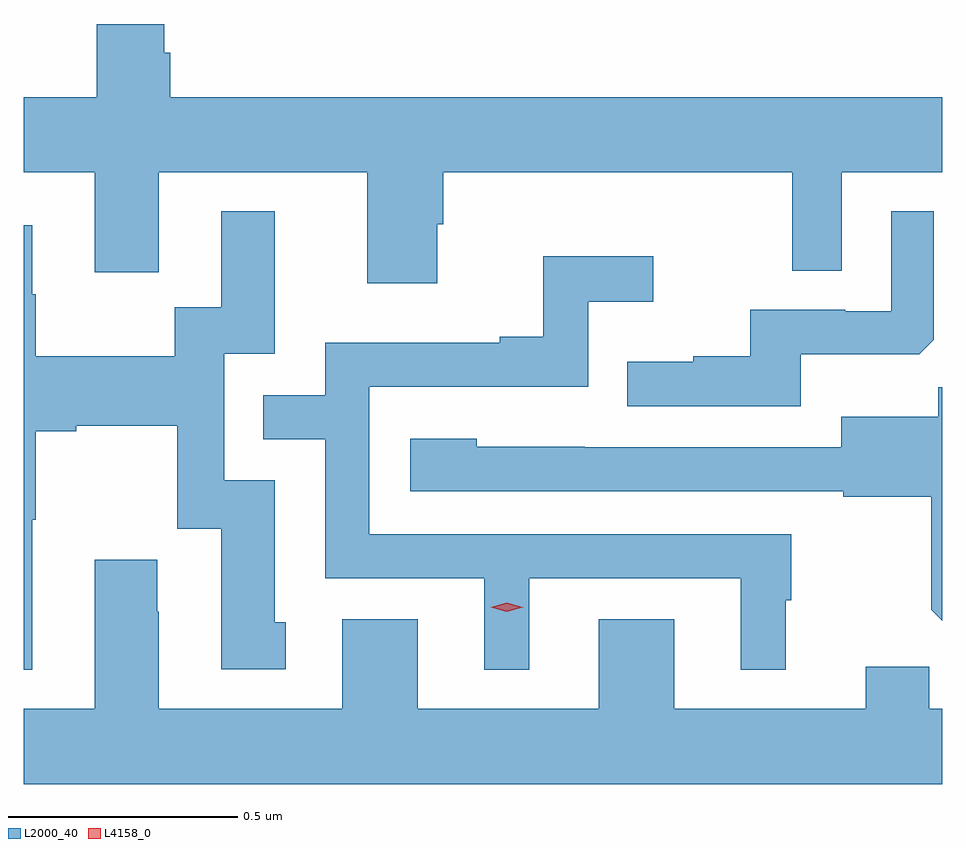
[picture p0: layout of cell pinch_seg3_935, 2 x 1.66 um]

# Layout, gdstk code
import gdstk
lib = gdstk.Library(unit=1e-6, precision=1e-09)
def P(c, l, *ps):  # polygons
    for p in ps: c.add(gdstk.Polygon(p, *l))
L2000_40 = (2000, 40)
L4158_0 = (4158, 0)

pinch_seg3_935 = lib.new_cell('pinch_seg3_935')
P(pinch_seg3_935, L2000_40, [(790.939,686.151),(790.952,686.151),(790.952,686.264),(791.712,686.264),(791.712,686.05),(791.82,686.05),(791.82,686.264),(792.039,686.264),(792.039,686.428),(790.358,686.428),(790.358,686.524),(790.345,686.524),(790.345,686.587),(790.198,686.587),(790.198,686.428),(790.039,686.428),(790.039,686.264),(790.193,686.264),(790.193,686.046),(790.333,686.046),(790.333,686.264),(790.787,686.264),(790.787,686.022),(790.939,686.022)],
  [(790.057,685.507),(790.065,685.507),(790.065,685.7),(790.153,685.7),(790.153,685.712),(790.373,685.712),(790.373,685.488),(790.469,685.488),(790.469,685.182),(790.609,685.182),(790.609,685.284),(790.585,685.284),(790.585,685.593),(790.476,685.593),(790.476,685.869),(790.585,685.869),(790.585,686.179),(790.469,686.179),(790.469,685.97),(790.368,685.97),(790.368,685.864),(790.065,685.864),(790.065,685.998),(790.057,685.998),(790.057,686.149),(790.039,686.149),(790.039,685.181),(790.057,685.181)],
  [(791.731,685.868),(791.989,685.868),(792.021,685.899),(792.021,686.179),(791.928,686.179),(791.928,685.962),(791.828,685.962),(791.828,685.965),(791.621,685.965),(791.621,685.864),(791.497,685.864),(791.497,685.852),(791.353,685.852),(791.353,685.755),(791.731,685.755)],
  [(791.14,685.38),(791.6,685.38),(791.6,685.181),(791.698,685.181),(791.698,685.332),(791.71,685.332),(791.71,685.476),(790.791,685.476),(790.791,685.797),(791.268,685.797),(791.268,685.982),(791.41,685.982),(791.41,686.081),(791.17,686.081),(791.17,685.906),(791.075,685.906),(791.075,685.893),(790.695,685.893),(790.695,685.779),(790.561,685.779),(790.561,685.683),(790.695,685.683),(790.695,685.38),(791.042,685.38),(791.042,685.181),(791.14,685.181)],
  [(792.039,685.796),(792.03,685.796),(792.03,685.732),(791.819,685.732),(791.819,685.665),(791.261,685.665),(791.261,685.666),(791.025,685.666),(791.025,685.684),(790.881,685.684),(790.881,685.569),(791.823,685.569),(791.823,685.557),(792.015,685.557),(792.015,685.311),(792.039,685.287)],
  [(792.039,685.096),(792.011,685.096),(792.011,685.187),(791.873,685.187),(791.873,685.096),(791.455,685.096),(791.455,685.291),(791.291,685.291),(791.291,685.096),(790.897,685.096),(790.897,685.291),(790.733,685.291),(790.733,685.096),(790.333,685.096),(790.333,685.307),(790.33,685.307),(790.33,685.42),(790.193,685.42),(790.193,685.096),(790.039,685.096),(790.039,684.932),(792.039,684.932)])
P(pinch_seg3_935, L4158_0, [(791.091,685.307),(791.056,685.317),(791.055,685.317),(791.056,685.317),(791.091,685.327),(791.126,685.317),(791.127,685.317),(791.126,685.317)])

lib.write_gds('pinch_seg3_935.gds')
